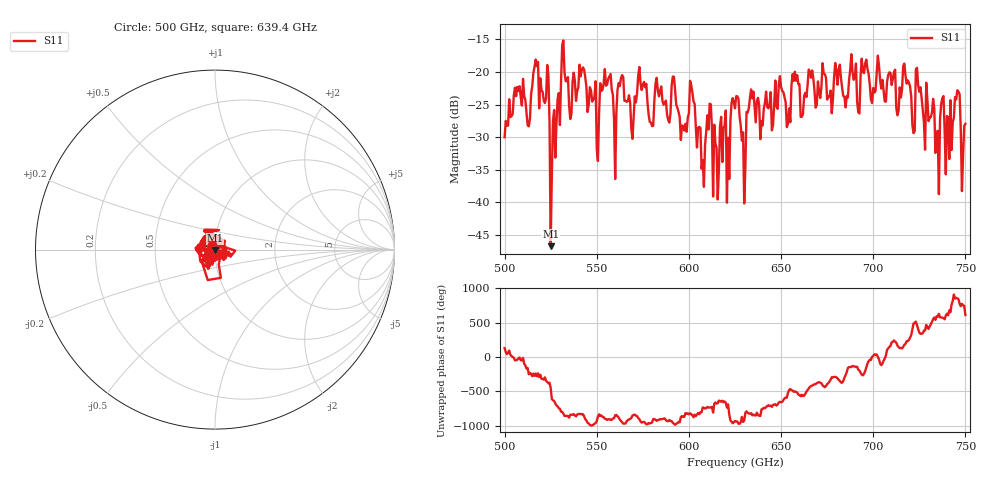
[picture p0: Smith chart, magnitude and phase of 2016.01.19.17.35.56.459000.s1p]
!Created with skrf (http://scikit-rf.org).
# GHz S RI R 50.0
!freq ReS11 ImS11
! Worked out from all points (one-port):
!   401 points, 500 GHz to 750 GHz, reference 50 ohm
!   lowest |S11| = -46.7 dB at 525 GHz (marker M1), VSWR 1.01, Z = 50 - j0.462 ohm
!   |S11| at or under -10 dB: start of sweep to end of sweep
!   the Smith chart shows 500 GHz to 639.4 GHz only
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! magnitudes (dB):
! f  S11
! 500 GHz  -30.0
! 506.9 GHz  -22.3
! 513.1 GHz  -28.3
! 516.9 GHz  -18.1
! 523.1 GHz  -18.9
! 525 GHz  -46.7
! 531.2 GHz  -15.9
! 541.9 GHz  -19.7
! 550 GHz  -31.8
! 562.5 GHz  -22.2
! 568.8 GHz  -28.7
! 573.8 GHz  -21.7
! 579.4 GHz  -27.7
! 593.8 GHz  -25.5
! 601.9 GHz  -23.1
! 608.1 GHz  -37.6
! 611.2 GHz  -24.9
! 614.4 GHz  -31.0
! 621.9 GHz  -36.4
! 625 GHz  -25.6
! 629.4 GHz  -29.3
! 633.8 GHz  -22.7
! 656.2 GHz  -20.3
! 687.5 GHz  -19.7
! 718.8 GHz  -21.3
! 735 GHz  -29.0
! 745.6 GHz  -22.8
! 750 GHz  -28.0
